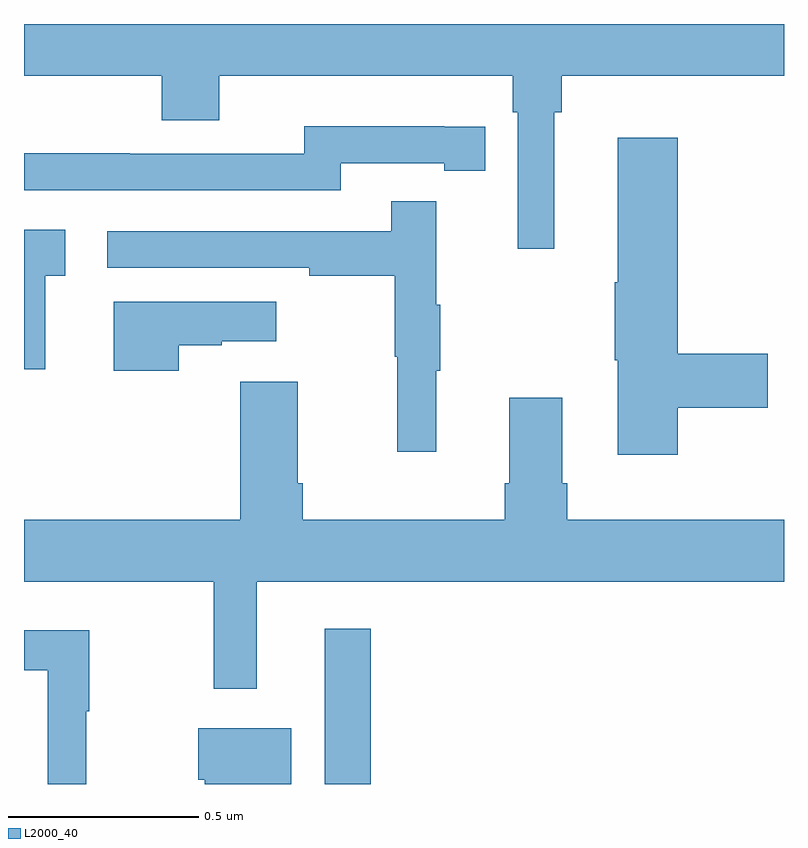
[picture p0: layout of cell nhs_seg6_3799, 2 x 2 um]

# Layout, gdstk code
import gdstk
lib = gdstk.Library(unit=1e-6, precision=1e-09)
def R(c, l, rs):  # rectangles x0, y0, x1, y1
    for r in rs: c.add(gdstk.rectangle(r[:2], r[2:], *l))
def P(c, l, *ps):  # polygons
    for p in ps: c.add(gdstk.Polygon(p, *l))
L2000_40 = (2000, 40)

nhs_seg6_3799 = lib.new_cell('nhs_seg6_3799')
R(nhs_seg6_3799, L2000_40, [(162.791,917.5,162.913,917.908)])
P(nhs_seg6_3799, L2000_40, [(163.396,919.268),(163.415,919.268),(163.415,919.364),(164,919.364),(164,919.5),(162,919.5),(162,919.364),(162.362,919.364),(162.362,919.247),(162.514,919.247),(162.514,919.364),(163.286,919.364),(163.286,919.268),(163.299,919.268),(163.299,918.909),(163.396,918.909)],
  [(162.834,919.134),(163.106,919.134),(163.106,919.114),(163.214,919.114),(163.214,919.23),(163.106,919.23),(163.106,919.231),(162.738,919.231),(162.738,919.158),(162.278,919.158),(162.278,919.16),(162,919.16),(162,919.062),(162.834,919.062)],
  [(163.721,918.49),(163.957,918.49),(163.957,918.632),(163.721,918.632),(163.721,919.201),(163.562,919.201),(163.562,918.821),(163.555,918.821),(163.555,918.615),(163.562,918.615),(163.562,918.366),(163.721,918.366)],
  [(163.085,918.587),(163.096,918.587),(163.096,918.761),(163.085,918.761),(163.085,919.033),(162.967,919.033),(162.967,918.954),(162.219,918.954),(162.219,918.858),(162.751,918.858),(162.751,918.838),(162.975,918.838),(162.975,918.624),(162.982,918.624),(162.982,918.375),(163.085,918.375)],
  [(162.056,918.837),(162.109,918.837),(162.109,918.958),(162,918.958),(162,918.591),(162.056,918.591)],
  [(162.407,918.655),(162.521,918.655),(162.521,918.665),(162.664,918.665),(162.664,918.769),(162.236,918.769),(162.236,918.588),(162.407,918.588)],
  [(164,918.196),(163.43,918.196),(163.43,918.292),(163.417,918.292),(163.417,918.517),(163.277,918.517),(163.277,918.292),(163.265,918.292),(163.265,918.196),(162.734,918.196),(162.734,918.292),(162.721,918.292),(162.721,918.559),(162.569,918.559),(162.569,918.196),(162,918.196),(162,918.032),(162.499,918.032),(162.499,917.751),(162.613,917.751),(162.613,918.032),(164,918.032)],
  [(162.164,917.692),(162.172,917.692),(162.172,917.905),(162,917.905),(162,917.799),(162.063,917.799),(162.063,917.5),(162.164,917.5)],
  [(162.703,917.647),(162.458,917.647),(162.458,917.511),(162.476,917.511),(162.476,917.5),(162.703,917.5)])

lib.write_gds('nhs_seg6_3799.gds')
